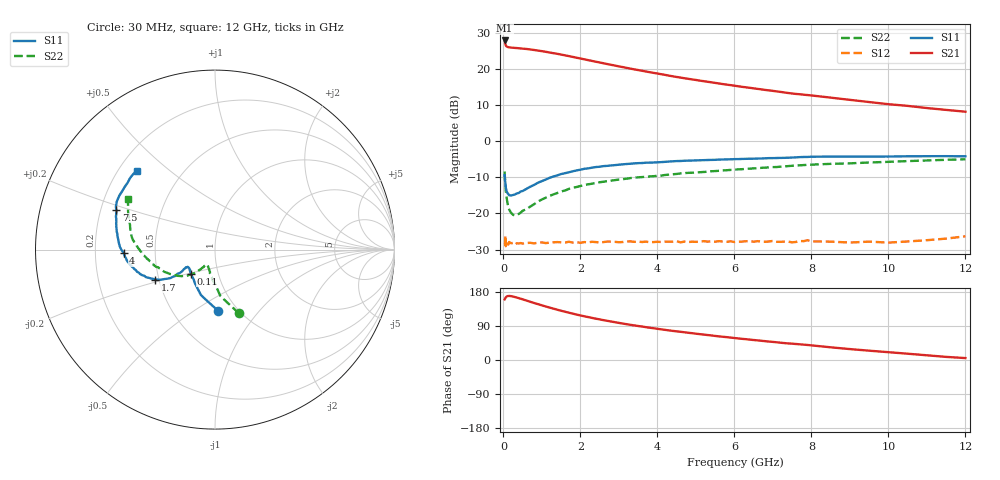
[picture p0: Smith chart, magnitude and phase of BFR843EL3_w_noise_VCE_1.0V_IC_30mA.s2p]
! Infineon Technologies  Discrete & RF Semiconductors
! BFR843EL3
! VCE =  1.0 V,  IC =  30 mA
! Common Emitter S-Parameters:  Aug 2013
# GHz  S  MA  R  50
!  f  S11  S21  S12  S22
! GHz  MAG  ANG  MAG  ANG  MAG  ANG  MAG  ANG
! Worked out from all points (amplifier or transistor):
!   103 points, 30 MHz to 12 GHz, reference 50 ohm
!   highest |S21| = 27.9 dB at 30 MHz (marker M1)
!   |S21| within 3 dB of that: start of sweep to 1.017 GHz
!   unconditionally stable (mu >= 1): 129.6 MHz to 130.5 MHz; 187.7 MHz to 570.8 MHz; 3.471 GHz to end of sweep
!   at 400 MHz: K = 1.01, MAG = 26.4 dB, |S12| = -28.3 dB
!   at 3.7 GHz: K = 1.02, MAG = 22.7 dB, |S12| = -27.8 dB
!   at 12 GHz: K = 1.93, MAG = 11.7 dB, |S12| = -26.3 dB
!   lowest NFmin = 1.34 dB at 900 MHz
!   S11 on the Smith chart (normalised r, x): 30 MHz: 0.82, -0.63; 110 MHz: 0.74, -0.20; 1.7 GHz: 0.48, -0.19; 4 GHz: 0.32, -0.02; 7.5 GHz: 0.26, +0.18; 12 GHz: 0.27, +0.39
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0.03  0.3412 -87.1  24.8 159.9  0.0369 27.3  0.3799 -69.4
0.04  0.2867 -99.4  23 161.8  0.0368 18.9  0.3005 -77.2
0.06  0.2303 -116.4  21.21 165.3  0.0352 6.6  0.21 -87.7
0.08  0.2052 -125.2  20.57 167.3  0.0387 10.2  0.1692 -94.7
0.11  0.1888 -135.0  20.13 168.6  0.0373 7.5  0.1357 -101.9
0.15  0.1784 -141.3  19.91 169.1  0.0402 5.6  0.1127 -107.6
0.25  0.1799 -147.9  19.66 167.4  0.039 6.2  0.0956 -116.7
0.6  0.2192 -146.6  18.9 156.8  0.039 2.8  0.1149 -123.0
1  0.2801 -147.2  17.62 144.2  0.0397 3.9  0.156 -128.5
1.4  0.3363 -150.4  16.19 132.7  0.0401 4.6  0.1919 -133.8
1.7  0.3711 -153.3  15.06 124.8  0.0405 5.8  0.2186 -137.8
2.1  0.4144 -158.3  13.6 115.3  0.0401 4.3  0.247 -143.6
2.6  0.4518 -164.2  11.98 105.1  0.0401 5.7  0.2746 -149.5
3  0.4726 -168.5  10.85 97.9  0.0399 5.4  0.2945 -153.7
4  0.5099 -177.9  8.644 82.3  0.0405 7.7  0.3316 -162.6
4.1  0.5133 -178.6  8.455 80.9  0.0402 8.2  0.3344 -163.0
5.1  0.5446 173.3  6.894 68.2  0.0405 9.6  0.3717 -170.7
6.1  0.5652 166.5  5.758 56.9  0.0407 12.2  0.4075 -177.1
7.5  0.5935 157.9  4.574 43.1  0.0398 13.6  0.4566 173.8
8.5  0.6121 150.5  4.01 33.5  0.0407 15.2  0.4854 166.6
10.5  0.6182 140.2  3.082 16.6  0.0409 25.7  0.5302 156.0
12  0.6181 134.9  2.558 5.1  0.0482 35.2  0.5611 149.7
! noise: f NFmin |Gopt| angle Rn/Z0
0.45  1.35  0.17  172  0.13
0.9  1.34  0.17  168  0.12
1.5  1.34  0.19  166  0.11
1.9  1.34  0.19  168  0.1
2.4  1.34  0.2  171  0.11
3.5  1.35  0.22  176  0.11
5.5  1.36  0.29  190  0.1
8  1.38  0.39  206  0.09
10  1.4  0.49  225  0.1
